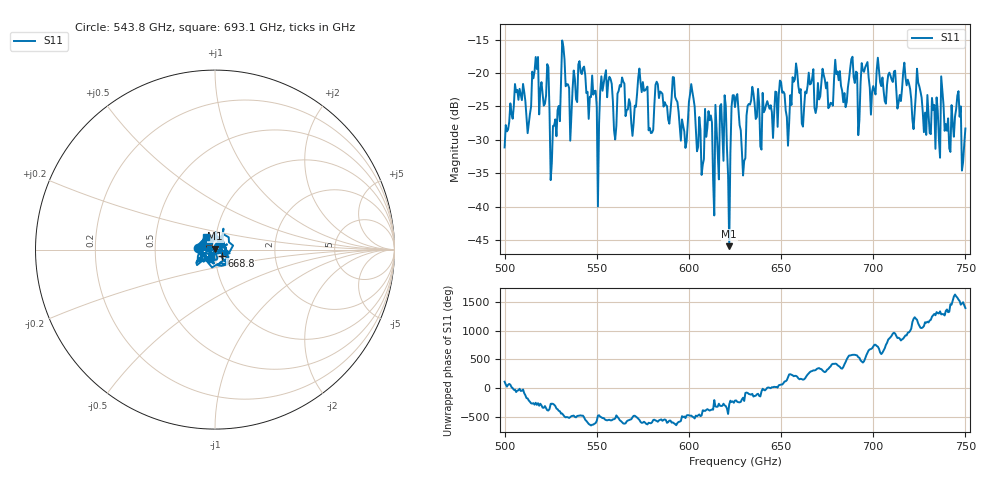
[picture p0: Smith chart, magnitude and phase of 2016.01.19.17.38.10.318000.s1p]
!Created with skrf (http://scikit-rf.org).
# GHz S RI R 50.0
!freq ReS11 ImS11
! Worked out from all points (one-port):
!   401 points, 500 GHz to 750 GHz, reference 50 ohm
!   lowest |S11| = -45.9 dB at 621.9 GHz (marker M1), VSWR 1.01, Z = 50.1 + j0.503 ohm
!   |S11| at or under -10 dB: start of sweep to end of sweep
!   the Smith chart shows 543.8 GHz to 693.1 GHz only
!   S11 on the Smith chart (normalised r, x): 543.8 GHz: 0.82, +0.01; 668.8 GHz: 1.07, -0.07; 693.1 GHz: 0.90, +0.13
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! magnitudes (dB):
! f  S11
! 500 GHz  -31.1
! 506.9 GHz  -22.5
! 513.1 GHz  -27.6
! 516.9 GHz  -17.6
! 526.2 GHz  -27.9
! 531.2 GHz  -15.1
! 543.8 GHz  -20.3
! 550 GHz  -25.0
! 553.8 GHz  -21.6
! 560 GHz  -30.0
! 562.5 GHz  -21.8
! 570 GHz  -27.5
! 573.8 GHz  -21.4
! 579.4 GHz  -29.0
! 583.1 GHz  -21.7
! 593.8 GHz  -24.3
! 614.4 GHz  -24.8
! 618.8 GHz  -33.1
! 621.9 GHz  -45.9
! 625 GHz  -25.1
! 629.4 GHz  -35.3
! 633.8 GHz  -24.1
! 656.2 GHz  -20.6
! 668.8 GHz  -26.0
! 687.5 GHz  -19.3
! 693.1 GHz  -21.5
! 718.8 GHz  -21.0
! 750 GHz  -28.3
